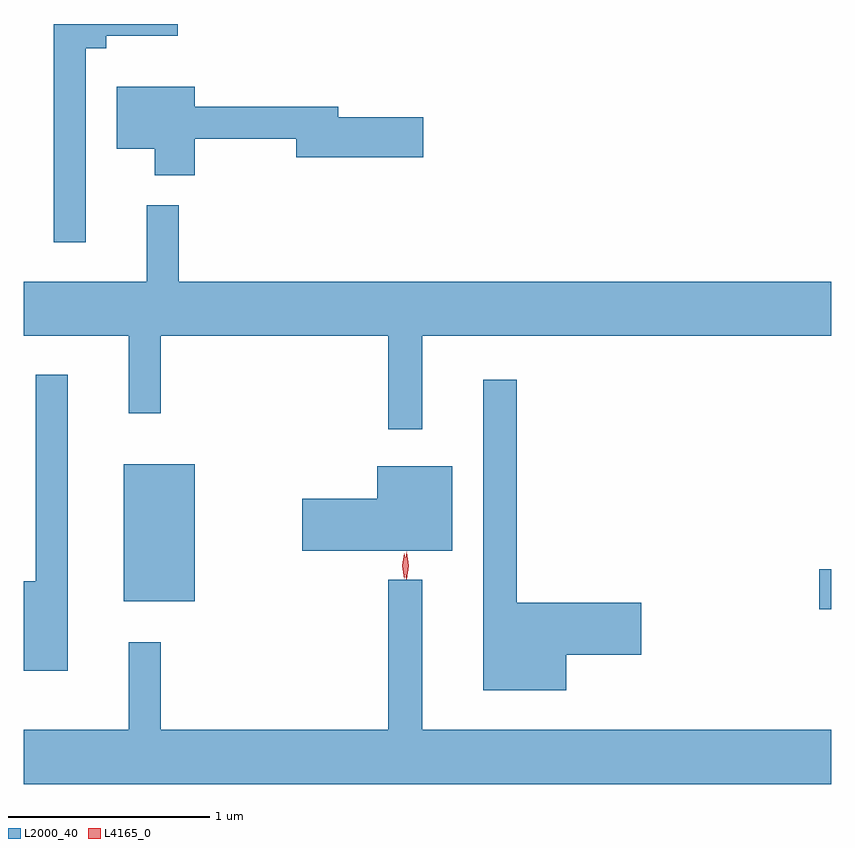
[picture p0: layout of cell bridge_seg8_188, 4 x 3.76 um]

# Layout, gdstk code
import gdstk
lib = gdstk.Library(unit=1e-6, precision=1e-09)
def R(c, l, rs):  # rectangles x0, y0, x1, y1
    for r in rs: c.add(gdstk.rectangle(r[:2], r[2:], *l))
def P(c, l, *ps):  # polygons
    for p in ps: c.add(gdstk.Polygon(p, *l))
L2000_40 = (2000, 40)
L4165_0 = (4165, 0)

bridge_seg8_188 = lib.new_cell('bridge_seg8_188')
R(bridge_seg8_188, L2000_40, [(1068.116,1937.181,1068.176,1937.379), (1064.671,1937.221,1065.024,1937.899)])
P(bridge_seg8_188, L2000_40, [(1064.484,1939.961),(1064.584,1939.961),(1064.584,1940.021),(1064.939,1940.021),(1064.939,1940.08),(1064.326,1940.08),(1064.326,1938.998),(1064.484,1938.998)],
  [(1065.024,1939.511),(1065.526,1939.511),(1065.526,1939.421),(1066.154,1939.421),(1066.154,1939.619),(1065.734,1939.619),(1065.734,1939.669),(1065.024,1939.669),(1065.024,1939.769),(1064.636,1939.769),(1064.636,1939.461),(1064.826,1939.461),(1064.826,1939.331),(1065.024,1939.331)],
  [(1066.149,1938.536),(1068.176,1938.536),(1068.176,1938.804),(1064.944,1938.804),(1064.944,1939.183),(1064.786,1939.183),(1064.786,1938.804),(1064.176,1938.804),(1064.176,1938.536),(1064.696,1938.536),(1064.696,1938.153),(1064.854,1938.153),(1064.854,1938.536),(1065.981,1938.536),(1065.981,1938.073),(1066.149,1938.073)],
  [(1064.394,1938.343),(1064.236,1938.343),(1064.236,1937.319),(1064.176,1937.319),(1064.176,1936.876),(1064.394,1936.876)],
  [(1066.864,1936.956),(1067.234,1936.956),(1067.234,1937.214),(1066.619,1937.214),(1066.619,1938.318),(1066.451,1938.318),(1066.451,1936.781),(1066.864,1936.781)],
  [(1066.299,1937.889),(1065.926,1937.889),(1065.926,1937.729),(1065.556,1937.729),(1065.556,1937.471),(1066.299,1937.471)],
  [(1068.176,1936.584),(1066.149,1936.584),(1066.149,1937.328),(1065.981,1937.328),(1065.981,1936.584),(1064.854,1936.584),(1064.854,1937.018),(1064.696,1937.018),(1064.696,1936.584),(1064.176,1936.584),(1064.176,1936.316),(1068.176,1936.316)])
P(bridge_seg8_188, L4165_0, [(1066.062,1937.333),(1066.062,1937.333),(1066.052,1937.396),(1066.062,1937.459),(1066.062,1937.46),(1066.062,1937.459),(1066.072,1937.396),(1066.062,1937.333)],
  [(1066.072,1937.329),(1066.071,1937.33),(1066.062,1937.398),(1066.072,1937.465),(1066.073,1937.466),(1066.073,1937.465),(1066.082,1937.398),(1066.072,1937.33)])

lib.write_gds('bridge_seg8_188.gds')
